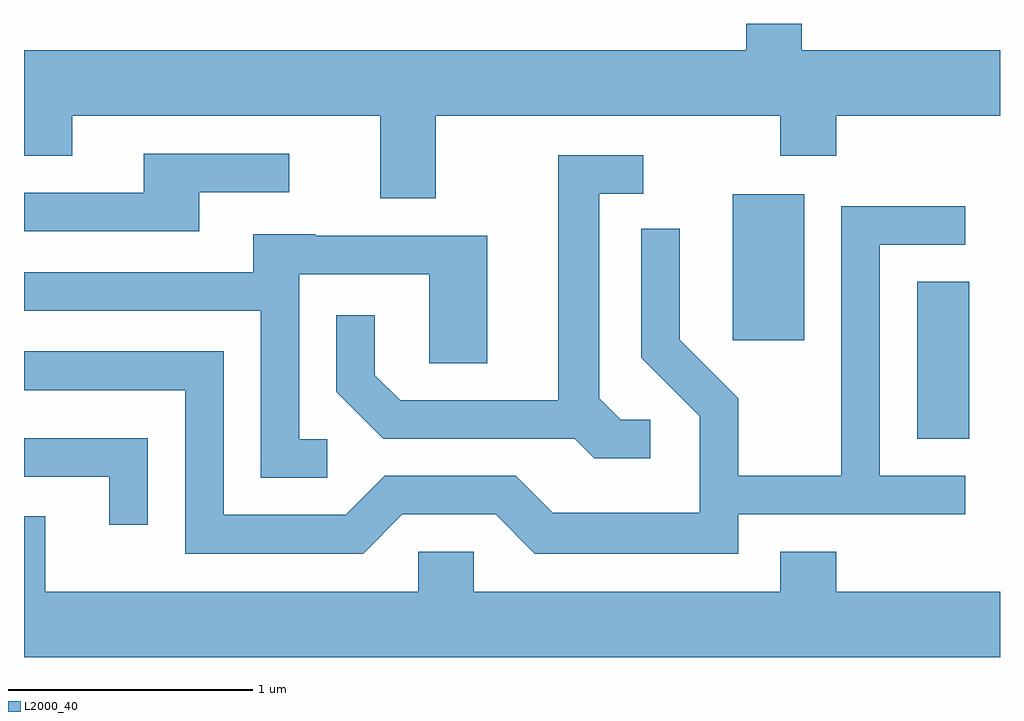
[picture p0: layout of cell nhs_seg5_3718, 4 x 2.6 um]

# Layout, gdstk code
import gdstk
lib = gdstk.Library(unit=1e-6, precision=1e-09)
def R(c, l, rs):  # rectangles x0, y0, x1, y1
    for r in rs: c.add(gdstk.rectangle(r[:2], r[2:], *l))
def P(c, l, *ps):  # polygons
    for p in ps: c.add(gdstk.Polygon(p, *l))
L2000_40 = (2000, 40)

nhs_seg5_3718 = lib.new_cell('nhs_seg5_3718')
R(nhs_seg5_3718, L2000_40, [(299.271,1444.371,299.484,1445.014), (298.516,1444.776,298.809,1445.374)])
P(nhs_seg5_3718, L2000_40, [(297.299,1445.696),(298.711,1445.696),(298.711,1445.531),(298.939,1445.531),(298.939,1445.696),(299.611,1445.696),(299.611,1445.964),(298.799,1445.964),(298.799,1446.072),(298.571,1446.072),(298.571,1445.964),(295.611,1445.964),(295.611,1445.531),(295.809,1445.531),(295.809,1445.696),(297.071,1445.696),(297.071,1445.356),(297.299,1445.356)],
  [(296.329,1445.381),(296.698,1445.381),(296.698,1445.539),(296.101,1445.539),(296.101,1445.379),(295.611,1445.379),(295.611,1445.221),(296.329,1445.221)],
  [(298.178,1444.449),(298.057,1444.449),(297.969,1444.537),(297.969,1445.376),(298.148,1445.376),(298.148,1445.534),(297.801,1445.534),(297.801,1444.529),(297.152,1444.529),(297.049,1444.632),(297.049,1444.878),(296.891,1444.878),(296.891,1444.564),(297.084,1444.371),(297.869,1444.371),(297.949,1444.291),(298.178,1444.291)],
  [(297.162,1444.061),(297.544,1444.061),(297.704,1443.901),(298.539,1443.901),(298.539,1444.061),(299.468,1444.061),(299.468,1444.219),(299.119,1444.219),(299.119,1445.166),(299.468,1445.166),(299.468,1445.324),(298.961,1445.324),(298.961,1444.219),(298.539,1444.219),(298.539,1444.537),(298.299,1444.777),(298.299,1445.233),(298.141,1445.233),(298.141,1444.704),(298.381,1444.464),(298.381,1444.069),(297.777,1444.069),(297.627,1444.219),(297.089,1444.219),(296.929,1444.059),(296.429,1444.059),(296.429,1444.729),(295.611,1444.729),(295.611,1444.571),(296.271,1444.571),(296.271,1443.901),(297.002,1443.901)],
  [(296.853,1444.369),(296.739,1444.369),(296.739,1445.046),(297.271,1445.046),(297.271,1444.681),(297.509,1444.681),(297.509,1445.204),(296.805,1445.204),(296.805,1445.209),(296.551,1445.209),(296.551,1445.054),(295.611,1445.054),(295.611,1444.896),(296.581,1444.896),(296.581,1444.211),(296.853,1444.211)],
  [(296.119,1444.374),(295.611,1444.374),(295.611,1444.216),(295.961,1444.216),(295.961,1444.018),(296.119,1444.018)],
  [(299.611,1443.744),(298.939,1443.744),(298.939,1443.909),(298.711,1443.909),(298.711,1443.744),(297.454,1443.744),(297.454,1443.909),(297.226,1443.909),(297.226,1443.744),(295.699,1443.744),(295.699,1444.054),(295.611,1444.054),(295.611,1443.476),(299.611,1443.476)])

lib.write_gds('nhs_seg5_3718.gds')
